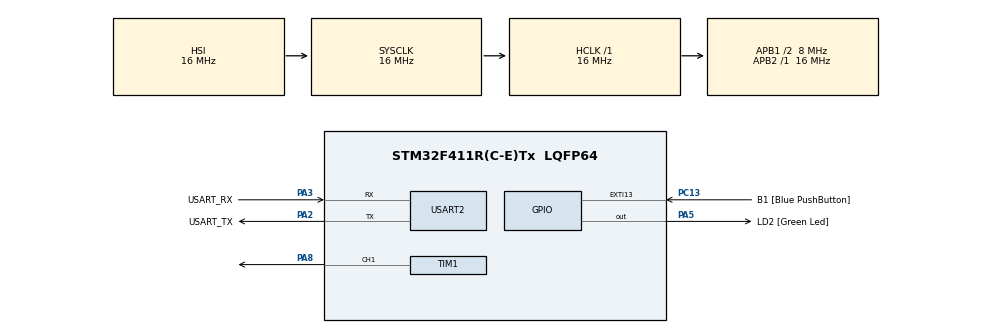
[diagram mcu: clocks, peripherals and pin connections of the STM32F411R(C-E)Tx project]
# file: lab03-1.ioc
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Mcu.Family=STM32F4
Mcu.Name=STM32F411R(C-E)Tx
Mcu.Package=LQFP64
NVIC.EXTI15_10_IRQn=true\:2\:0\:true\:false\:true\:true\:true\:true
NVIC.PriorityGroup=NVIC_PRIORITYGROUP_2
PA13.GPIO_Label=TMS
PA13.Mode=Serial_Wire
PA13.Signal=SYS_JTMS-SWDIO
PA14.GPIO_Label=TCK
PA14.Mode=Serial_Wire
PA14.Signal=SYS_JTCK-SWCLK
PA2.GPIO_Label=USART_TX
PA2.Mode=Asynchronous
PA2.Signal=USART2_TX
PA3.GPIO_Label=USART_RX
PA3.Mode=Asynchronous
PA3.Signal=USART2_RX
PA5.GPIO_Label=LD2 [Green Led]
PA5.Signal=GPIO_Output
PA8.Signal=S_TIM1_CH1
PB3.GPIO_Label=SWO
PB3.Signal=SYS_JTDO-SWO
PC13-ANTI_TAMP.GPIO_Label=B1 [Blue PushButton]
PC13-ANTI_TAMP.GPIO_ModeDefaultEXTI=GPIO_MODE_IT_RISING_FALLING
PC13-ANTI_TAMP.Signal=GPXTI13
PC14-OSC32_IN.Mode=LSE-External-Oscillator
PC14-OSC32_IN.Signal=RCC_OSC32_IN
PC15-OSC32_OUT.Mode=LSE-External-Oscillator
PC15-OSC32_OUT.Signal=RCC_OSC32_OUT
PH0\ -\ OSC_IN.Mode=HSE-External-Clock-Source
PH0\ -\ OSC_IN.Signal=RCC_OSC_IN
PH1\ -\ OSC_OUT.Mode=HSE-External-Clock-Source
PH1\ -\ OSC_OUT.Signal=RCC_OSC_OUT
ProjectManager.HeapSize=0x200
ProjectManager.StackSize=0x400
ProjectManager.TargetToolchain=STM32CubeIDE
RCC.48MHZClocksFreq_Value=168000000
RCC.AHBFreq_Value=16000000
RCC.APB1CLKDivider=RCC_HCLK_DIV2
RCC.APB1Freq_Value=8000000
RCC.APB1TimFreq_Value=16000000
RCC.APB2Freq_Value=16000000
RCC.APB2TimFreq_Value=16000000
RCC.CortexFreq_Value=16000000
RCC.FLatency-AdvancedSettings=FLASH_LATENCY_0
RCC.HCLKFreq_Value=16000000
RCC.HSE_VALUE=8000000
RCC.HSI_VALUE=16000000
RCC.PLLM=4
RCC.PLLN=336
RCC.PLLP=RCC_PLLP_DIV4
RCC.PLLSourceVirtual=RCC_PLLSOURCE_HSE
RCC.SYSCLKFreq_VALUE=16000000
RCC.VCOOutputFreq_Value=672000000
SH.S_TIM1_CH1.0=TIM1_CH1,PWM Generation1 CH1
TIM1.AutoReloadPreload=TIM_AUTORELOAD_PRELOAD_ENABLE
TIM1.Channel-PWM\ Generation1\ CH1=TIM_CHANNEL_1
TIM1.Period=99
TIM1.Prescaler=15
TIM1.Pulse-PWM\ Generation1\ CH1=1000
USART2.VirtualMode=VM_ASYNC
VP_TIM1_VS_ClockSourceINT.Mode=Internal
board=NUCLEO-F411RE

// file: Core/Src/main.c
/* USER CODE BEGIN Header */
/**
 ******************************************************************************
 * @file           : main.c
 * @brief          : Main program body
 ******************************************************************************
 * @attention
 *
 * Copyright (c) 2024 STMicroelectronics.
 * All rights reserved.
 *
 * This software is licensed under terms that can be found in the LICENSE file
 * in the root directory of this software component.
 * If no LICENSE file comes with this software, it is provided AS-IS.
 *
 ******************************************************************************
 */
/* USER CODE END Header */
#include "main.h"

TIM_HandleTypeDef htim1;

UART_HandleTypeDef huart2;

void SystemClock_Config(void);
static void MX_GPIO_Init(void);
static void MX_USART2_UART_Init(void);
static void MX_TIM1_Init(void);

/* USER CODE BEGIN 0 */
uint8_t buttonState = GPIO_PIN_SET;
uint64_t state = 0;

void HAL_GPIO_EXTI_Callback(uint16_t GPIO_Pin) {

	// Read the state of the user push button (GPIOC13)
	uint8_t currentButtonState = HAL_GPIO_ReadPin(GPIOC, GPIO_PIN_13);

	// Check for a button press (transition from not pressed to pressed)
	if (buttonState == GPIO_PIN_SET && currentButtonState == GPIO_PIN_RESET) {
		// update is pressed
		++state;
		// Update the button state
		buttonState = GPIO_PIN_RESET;
	} else {
		//button is released or the button is pressed but not on the first clock
		// Update the button state
		buttonState = currentButtonState;
	}

	__HAL_GPIO_EXTI_CLEAR_IT(GPIO_Pin);
}
/* USER CODE END 0 */

int main(void)
{

  /* MCU Configuration--------------------------------------------------------*/

  /* Reset of all peripherals, Initializes the Flash interface and the Systick. */
  HAL_Init();

  /* Configure the system clock */
  SystemClock_Config();

  /* Initialize all configured peripherals */
  MX_GPIO_Init();
  MX_USART2_UART_Init();
  MX_TIM1_Init();

  /* Infinite loop */
	while (1) {

    /* USER CODE BEGIN 3 */
		HAL_GPIO_TogglePin(GPIOA, GPIO_PIN_5);
		if (state % 3 == 0) {
			HAL_Delay(100);
		} else if (state % 3 == 1) {
			HAL_Delay(500);
		} else if (state % 3 == 2) {
			HAL_Delay(2500);
		}

	}
  /* USER CODE END 3 */
}

void SystemClock_Config(void)
{
  RCC_OscInitTypeDef RCC_OscInitStruct = {0};
  RCC_ClkInitTypeDef RCC_ClkInitStruct = {0};

  /** Configure the main internal regulator output voltage
  */
  __HAL_RCC_PWR_CLK_ENABLE();
  __HAL_PWR_VOLTAGESCALING_CONFIG(PWR_REGULATOR_VOLTAGE_SCALE1);

  /** Initializes the RCC Oscillators according to the specified parameters
  * in the RCC_OscInitTypeDef structure.
  */
  RCC_OscInitStruct.OscillatorType = RCC_OSCILLATORTYPE_HSI;
  RCC_OscInitStruct.HSIState = RCC_HSI_ON;
  RCC_OscInitStruct.HSICalibrationValue = RCC_HSICALIBRATION_DEFAULT;
  RCC_OscInitStruct.PLL.PLLState = RCC_PLL_NONE;
  if (HAL_RCC_OscConfig(&RCC_OscInitStruct) != HAL_OK)
  {
    Error_Handler();
  }

  /** Initializes the CPU, AHB and APB buses clocks
  */
  RCC_ClkInitStruct.ClockType = RCC_CLOCKTYPE_HCLK|RCC_CLOCKTYPE_SYSCLK
                              |RCC_CLOCKTYPE_PCLK1|RCC_CLOCKTYPE_PCLK2;
  RCC_ClkInitStruct.SYSCLKSource = RCC_SYSCLKSOURCE_HSI;
  RCC_ClkInitStruct.AHBCLKDivider = RCC_SYSCLK_DIV1;
  RCC_ClkInitStruct.APB1CLKDivider = RCC_HCLK_DIV2;
  RCC_ClkInitStruct.APB2CLKDivider = RCC_HCLK_DIV1;

  if (HAL_RCC_ClockConfig(&RCC_ClkInitStruct, FLASH_LATENCY_0) != HAL_OK)
  {
    Error_Handler();
  }
}

static void MX_TIM1_Init(void)
{

  TIM_ClockConfigTypeDef sClockSourceConfig = {0};
  TIM_MasterConfigTypeDef sMasterConfig = {0};
  TIM_OC_InitTypeDef sConfigOC = {0};
  TIM_BreakDeadTimeConfigTypeDef sBreakDeadTimeConfig = {0};

  htim1.Instance = TIM1;
  htim1.Init.Prescaler = 15;
  htim1.Init.CounterMode = TIM_COUNTERMODE_UP;
  htim1.Init.Period = 99;
  htim1.Init.ClockDivision = TIM_CLOCKDIVISION_DIV1;
  htim1.Init.RepetitionCounter = 0;
  htim1.Init.AutoReloadPreload = TIM_AUTORELOAD_PRELOAD_ENABLE;
  if (HAL_TIM_Base_Init(&htim1) != HAL_OK)
  {
    Error_Handler();
  }
  sClockSourceConfig.ClockSource = TIM_CLOCKSOURCE_INTERNAL;
  if (HAL_TIM_ConfigClockSource(&htim1, &sClockSourceConfig) != HAL_OK)
  {
    Error_Handler();
  }
  if (HAL_TIM_PWM_Init(&htim1) != HAL_OK)
  {
    Error_Handler();
  }
  sMasterConfig.MasterOutputTrigger = TIM_TRGO_RESET;
  sMasterConfig.MasterSlaveMode = TIM_MASTERSLAVEMODE_DISABLE;
  if (HAL_TIMEx_MasterConfigSynchronization(&htim1, &sMasterConfig) != HAL_OK)
  {
    Error_Handler();
  }
  sConfigOC.OCMode = TIM_OCMODE_PWM1;
  sConfigOC.Pulse = 1000;
  sConfigOC.OCPolarity = TIM_OCPOLARITY_HIGH;
  sConfigOC.OCNPolarity = TIM_OCNPOLARITY_HIGH;
  sConfigOC.OCFastMode = TIM_OCFAST_DISABLE;
  sConfigOC.OCIdleState = TIM_OCIDLESTATE_RESET;
  sConfigOC.OCNIdleState = TIM_OCNIDLESTATE_RESET;
  if (HAL_TIM_PWM_ConfigChannel(&htim1, &sConfigOC, TIM_CHANNEL_1) != HAL_OK)
  {
    Error_Handler();
  }
  sBreakDeadTimeConfig.OffStateRunMode = TIM_OSSR_DISABLE;
  sBreakDeadTimeConfig.OffStateIDLEMode = TIM_OSSI_DISABLE;
  sBreakDeadTimeConfig.LockLevel = TIM_LOCKLEVEL_OFF;
  sBreakDeadTimeConfig.DeadTime = 0;
  sBreakDeadTimeConfig.BreakState = TIM_BREAK_DISABLE;
  sBreakDeadTimeConfig.BreakPolarity = TIM_BREAKPOLARITY_HIGH;
  sBreakDeadTimeConfig.AutomaticOutput = TIM_AUTOMATICOUTPUT_DISABLE;
  if (HAL_TIMEx_ConfigBreakDeadTime(&htim1, &sBreakDeadTimeConfig) != HAL_OK)
  {
    Error_Handler();
  }
  /* USER CODE BEGIN TIM1_Init 2 */
  TIM1->CCR1 = 50;
	HAL_TIM_PWM_Start(&htim1,TIM_CHANNEL_1);
  /* USER CODE END TIM1_Init 2 */
  HAL_TIM_MspPostInit(&htim1);

}

static void MX_USART2_UART_Init(void)
{

  huart2.Instance = USART2;
  huart2.Init.BaudRate = 115200;
  huart2.Init.WordLength = UART_WORDLENGTH_8B;
  huart2.Init.StopBits = UART_STOPBITS_1;
  huart2.Init.Parity = UART_PARITY_NONE;
  huart2.Init.Mode = UART_MODE_TX_RX;
  huart2.Init.HwFlowCtl = UART_HWCONTROL_NONE;
  huart2.Init.OverSampling = UART_OVERSAMPLING_16;
  if (HAL_UART_Init(&huart2) != HAL_OK)
  {
    Error_Handler();
  }

}

static void MX_GPIO_Init(void)
{
  GPIO_InitTypeDef GPIO_InitStruct = {0};

  /* GPIO Ports Clock Enable */
  __HAL_RCC_GPIOC_CLK_ENABLE();
  __HAL_RCC_GPIOH_CLK_ENABLE();
  __HAL_RCC_GPIOA_CLK_ENABLE();
  __HAL_RCC_GPIOB_CLK_ENABLE();

  /*Configure GPIO pin Output Level */
  HAL_GPIO_WritePin(LD2_GPIO_Port, LD2_Pin, GPIO_PIN_RESET);

  /*Configure GPIO pin : B1_Pin */
  GPIO_InitStruct.Pin = B1_Pin;
  GPIO_InitStruct.Mode = GPIO_MODE_IT_RISING_FALLING;
  GPIO_InitStruct.Pull = GPIO_NOPULL;
  HAL_GPIO_Init(B1_GPIO_Port, &GPIO_InitStruct);

  /*Configure GPIO pin : LD2_Pin */
  GPIO_InitStruct.Pin = LD2_Pin;
  GPIO_InitStruct.Mode = GPIO_MODE_OUTPUT_PP;
  GPIO_InitStruct.Pull = GPIO_NOPULL;
  GPIO_InitStruct.Speed = GPIO_SPEED_FREQ_LOW;
  HAL_GPIO_Init(LD2_GPIO_Port, &GPIO_InitStruct);

  /* EXTI interrupt init*/
  HAL_NVIC_SetPriority(EXTI15_10_IRQn, 2, 0);
  HAL_NVIC_EnableIRQ(EXTI15_10_IRQn);

}

void Error_Handler(void)
{
	__disable_irq();
	while (1) {
	}
}
